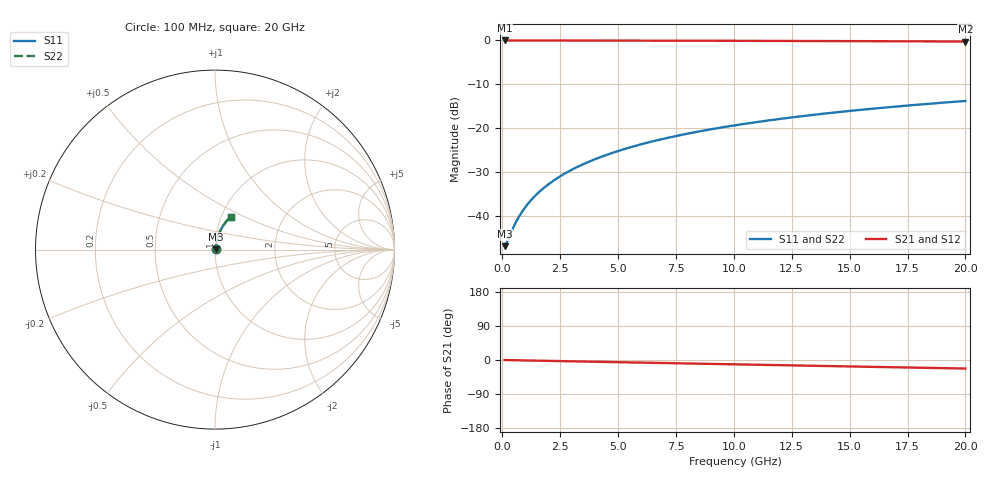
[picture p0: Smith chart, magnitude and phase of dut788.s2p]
! Touchstone file exported from HFSS 2026.1.0
!  File:  C:/ffzhzh/LocalFiles/Ansys_Project_Files/temp_train_TMRDL_788_1783155910_51560.aedt
!  Generated:  05:06:23 PM Jul  4, 2026
!  Design:  TMRDL
!  Project:  temp_train_TMRDL_788_1783155910_51560
! Variables:
!  h_bsmrdl = 2um
!  h_ox = 20um
!  h_rdl = 5um
!  h_sub = 80um
!  h_tmrdl = 2.38um
!  h_tsv = 80um
!  h_via = 3um
!  l_bsmrdl = 300um
!  l_sub = 732.21um
!  l_tmrdl = 332.21um
!  m_sub = 200um
!  pitch = 23.82um
!  r_tsv = 6um
!  s_tmrdl = 10um
!  w_bsmrdl = 18um
!  w_sub = 500um
!  w_tmrdl = 11.98um
!  x_tsv_center1 = 338.2um
!  x_tsv_center2 = 656.2um
!  x_tsv_center3 = 1000.39um
!  x_tsv_center4 = 1318.39um
!  x_tsv_center5 = 1662.58um
!  x_tsv_center6 = 1980.58um
# GHz S MA R 50.000000
! Terminal data exported
! Port[1] = TM_RDL1_1_T1
! Port[2] = TM_RDL1_1_T2
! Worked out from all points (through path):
!   200 points, 100 MHz to 20 GHz, reference 50 ohm
!   highest |S21| = -0.04 dB at 100 MHz (marker M1); lowest = -0.3 dB at 20 GHz (marker M2)
!   group delay of S21, straight-line fit = 3.12 ps
!   lowest |S11| = -47.0 dB at 100 MHz (marker M3), VSWR 1.01, Z = 50.4 + j0.123 ohm
!   |S11| at or under -10 dB: start of sweep to end of sweep
!   |S22| runs from -47.0 to -13.8 dB; largest |S21 - S12| = 3.5e-15
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0.1  0.004482 15.7  0.9957 -0.1  0.9957 -0.1  0.004482 15.7
! Gamma 0 0 0 0
! Port Impedance 50 0 50 0
0.2  0.004991 29.0  0.9956 -0.2  0.9956 -0.2  0.004991 29.0
0.5  0.00753 51.9  0.9954 -0.6  0.9954 -0.6  0.00753 51.9
0.7  0.009507 59.1  0.9952 -0.8  0.9952 -0.8  0.009507 59.1
0.8  0.01052 61.6  0.9951 -1.0  0.9951 -1.0  0.01051 61.6
1  0.01255 65.3  0.9949 -1.2  0.9949 -1.2  0.01255 65.3
1.2  0.01459 68.0  0.9948 -1.4  0.9948 -1.4  0.01459 68.0
1.4  0.01664 70.1  0.9947 -1.7  0.9947 -1.7  0.01664 70.1
1.8  0.02077 72.9  0.9945 -2.1  0.9945 -2.1  0.02077 72.9
2.3  0.02599 75.1  0.9942 -2.7  0.9942 -2.7  0.02599 75.1
2.9  0.03231 76.6  0.9939 -3.4  0.9939 -3.4  0.03231 76.6
3.5  0.03866 77.4  0.9935 -4.1  0.9935 -4.1  0.03866 77.4
4.2  0.04609 77.8  0.9931 -4.9  0.9931 -4.9  0.04609 77.8
5  0.05457 77.8  0.9924 -5.8  0.9924 -5.8  0.05457 77.8
5.9  0.06409 77.5  0.9917 -6.8  0.9917 -6.8  0.06409 77.5
6.8  0.07356 77.0  0.9907 -7.8  0.9907 -7.8  0.07356 77.0
8.3  0.08922 75.9  0.989 -9.6  0.989 -9.6  0.08922 75.9
10.1  0.1077 74.4  0.9866 -11.6  0.9866 -11.6  0.1077 74.4
11.7  0.1239 72.8  0.9842 -13.4  0.9842 -13.4  0.1239 72.8
13.4  0.1408 71.2  0.9813 -15.3  0.9813 -15.3  0.1408 71.2
16.7  0.1726 67.8  0.9751 -18.9  0.9751 -18.9  0.1726 67.8
20  0.2031 64.4  0.9683 -22.5  0.9683 -22.5  0.203 64.4
